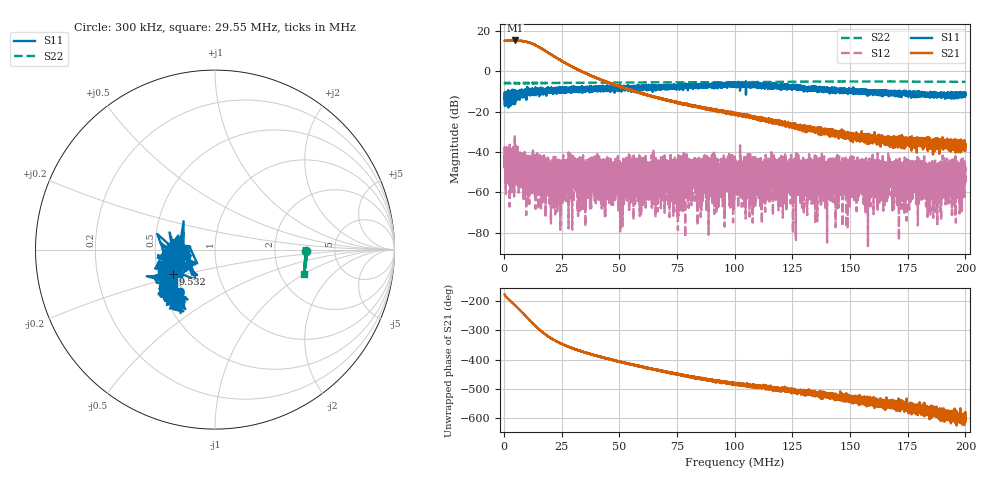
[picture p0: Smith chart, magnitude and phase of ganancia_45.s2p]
# Hz S DB R 50
! CMT, M5065, 19127446, 24.2.4/2
! Date: 11/8/2024 5:19:21 PM
! Data: Format (Calibration Info)
! Freq	S11:dB/Ang(F2)	S21:dB/Ang(F2)	S12:dB/Ang(F2)	S22:dB/Ang(F2)
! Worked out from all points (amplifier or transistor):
!   9000 points, 300 kHz to 200 MHz, reference 50 ohm
!   highest |S21| = 15.2 dB at 4.805 MHz (marker M1)
!   |S21| within 3 dB of that: start of sweep to 14.78 MHz
!   unconditionally stable (mu >= 1): start of sweep to end of sweep
!   at 33.59 MHz: K = 48.83, MAG = 1.8 dB, |S12| = -43.4 dB
!   at 100.2 MHz: K = 1603.42, MAG = -18.9 dB, |S12| = -53.8 dB
!   at 200 MHz: K = 11677.64, MAG = -35.3 dB, |S12| = -53.9 dB
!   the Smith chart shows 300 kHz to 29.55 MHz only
!   S11 on the Smith chart (normalised r, x): 300 kHz: 0.64, -0.00; 9.532 MHz: 0.60, -0.18; 29.55 MHz: 0.58, -0.37
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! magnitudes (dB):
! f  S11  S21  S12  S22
! 300 kHz  -13.2  15.1  -44.2  -5.9
! 4.805 MHz  -14.0  15.2  -43.9  -5.9
! 9.532 MHz  -11.3  14.6  -52.7  -5.9
! 18.01 MHz  -10.2  9.9  -48.4  -5.8
! 20.03 MHz  -10.4  8.5  -61.9  -5.8
! 29.55 MHz  -9.2  2.2  -49.5  -5.8
! 33.59 MHz  -9.4  -0.1  -43.4  -5.8
! 45.35 MHz  -8.5  -5.7  -48.1  -5.7
! 50.56 MHz  -7.2  -7.7  -50.8  -5.6
! 66.87 MHz  -7.7  -13.1  -52.0  -5.5
! 100.2 MHz  -6.6  -21.4  -53.8  -5.4
! 125.5 MHz  -7.8  -27.0  -51.1  -5.2
! 127.5 MHz  -9.0  -28.0  -41.4  -5.2
! 133.4 MHz  -8.5  -27.7  -45.9  -5.2
! 152.4 MHz  -10.4  -33.5  -52.7  -5.1
! 154.5 MHz  -9.8  -31.8  -55.0  -5.1
! 156.8 MHz  -10.0  -33.4  -59.6  -5.1
! 160.6 MHz  -10.1  -32.1  -54.8  -5.1
! 163.6 MHz  -11.1  -33.1  -60.9  -5.1
! 166.7 MHz  -11.1  -34.6  -51.6  -5.1
! 173.8 MHz  -11.0  -33.4  -50.5  -5.2
! 200 MHz  -11.6  -37.1  -53.9  -5.3
